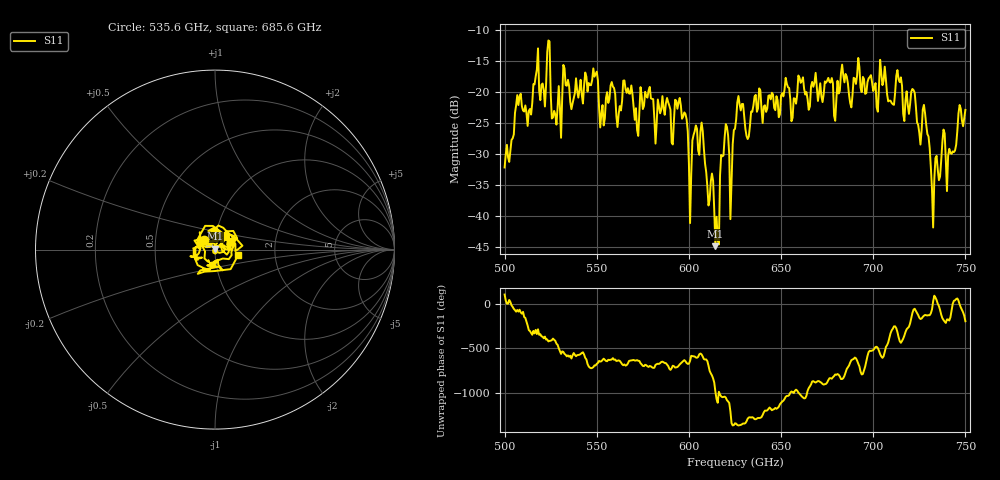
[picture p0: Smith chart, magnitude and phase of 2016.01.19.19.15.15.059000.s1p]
!Created with skrf (http://scikit-rf.org).
# GHz S RI R 50.0
!freq ReS11 ImS11
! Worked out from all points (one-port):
!   401 points, 500 GHz to 750 GHz, reference 50 ohm
!   lowest |S11| = -44.8 dB at 614.4 GHz (marker M1), VSWR 1.01, Z = 50 + j0.575 ohm
!   |S11| at or under -10 dB: start of sweep to end of sweep
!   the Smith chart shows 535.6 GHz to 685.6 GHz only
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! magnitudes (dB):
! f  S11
! 500 GHz  -32.2
! 516.9 GHz  -17.5
! 520.6 GHz  -18.7
! 523.8 GHz  -11.7
! 526.9 GHz  -23.1
! 531.2 GHz  -20.9
! 549.4 GHz  -17.2
! 553.1 GHz  -22.1
! 558.8 GHz  -19.1
! 562.5 GHz  -22.3
! 565.6 GHz  -19.6
! 593.8 GHz  -22.7
! 600.6 GHz  -41.1
! 603.1 GHz  -26.3
! 607.5 GHz  -26.3
! 614.4 GHz  -44.8
! 615.6 GHz  -43.9
! 619.4 GHz  -27.3
! 623.1 GHz  -34.3
! 625 GHz  -25.9
! 656.2 GHz  -24.2
! 660.6 GHz  -18.5
! 687.5 GHz  -21.8
! 705 GHz  -18.9
! 718.8 GHz  -22.1
! 728.1 GHz  -23.5
! 732.5 GHz  -41.8
! 750 GHz  -22.9
